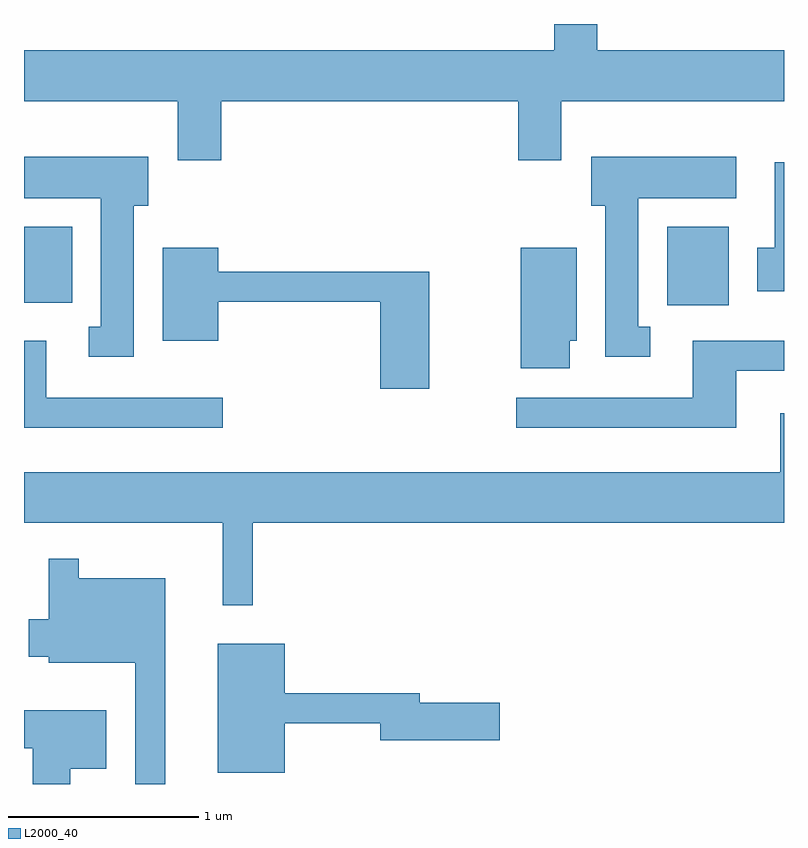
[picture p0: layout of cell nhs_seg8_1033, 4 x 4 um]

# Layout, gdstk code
import gdstk
lib = gdstk.Library(unit=1e-6, precision=1e-09)
def R(c, l, rs):  # rectangles x0, y0, x1, y1
    for r in rs: c.add(gdstk.rectangle(r[:2], r[2:], *l))
def P(c, l, *ps):  # polygons
    for p in ps: c.add(gdstk.Polygon(p, *l))
L2000_40 = (2000, 40)

nhs_seg8_1033 = lib.new_cell('nhs_seg8_1033')
R(nhs_seg8_1033, L2000_40, [(218.996,1870.861,219.319,1871.274), (215.611,1870.876,215.864,1871.274)])
P(nhs_seg8_1033, L2000_40, [(216.649,1871.936),(218.211,1871.936),(218.211,1871.626),(218.439,1871.626),(218.439,1871.936),(219.611,1871.936),(219.611,1872.204),(218.629,1872.204),(218.629,1872.342),(218.401,1872.342),(218.401,1872.204),(215.611,1872.204),(215.611,1871.936),(216.421,1871.936),(216.421,1871.626),(216.649,1871.626)],
  [(218.908,1870.749),(218.844,1870.749),(218.844,1871.426),(219.359,1871.426),(219.359,1871.644),(218.596,1871.644),(218.596,1871.386),(218.671,1871.386),(218.671,1870.591),(218.908,1870.591)],
  [(216.189,1871.386),(216.264,1871.386),(216.264,1871.644),(215.611,1871.644),(215.611,1871.426),(216.016,1871.426),(216.016,1870.749),(215.953,1870.749),(215.953,1870.591),(216.189,1870.591)],
  [(219.611,1871.614),(219.561,1871.614),(219.561,1871.164),(219.471,1871.164),(219.471,1870.936),(219.611,1870.936)],
  [(218.484,1870.676),(218.519,1870.676),(218.519,1871.164),(218.226,1871.164),(218.226,1870.531),(218.484,1870.531)],
  [(217.744,1871.039),(216.634,1871.039),(216.634,1871.164),(216.341,1871.164),(216.341,1870.676),(216.634,1870.676),(216.634,1870.881),(217.486,1870.881),(217.486,1870.421),(217.744,1870.421)],
  [(216.658,1870.374),(215.729,1870.374),(215.729,1870.674),(215.611,1870.674),(215.611,1870.216),(216.658,1870.216)],
  [(219.359,1870.516),(219.611,1870.516),(219.611,1870.674),(219.131,1870.674),(219.131,1870.374),(218.203,1870.374),(218.203,1870.216),(219.359,1870.216)],
  [(216.814,1869.716),(219.611,1869.716),(219.611,1870.294),(219.591,1870.294),(219.591,1869.984),(215.611,1869.984),(215.611,1869.716),(216.656,1869.716),(216.656,1869.283),(216.814,1869.283)],
  [(216.354,1869.424),(215.899,1869.424),(215.899,1869.528),(215.741,1869.528),(215.741,1869.209),(215.636,1869.209),(215.636,1869.011),(215.741,1869.011),(215.741,1868.981),(216.196,1868.981),(216.196,1868.342),(216.354,1868.342)],
  [(216.984,1868.661),(217.486,1868.661),(217.486,1868.571),(218.114,1868.571),(218.114,1868.769),(217.694,1868.769),(217.694,1868.819),(216.984,1868.819),(216.984,1869.079),(216.631,1869.079),(216.631,1868.401),(216.984,1868.401)],
  [(215.854,1868.421),(216.044,1868.421),(216.044,1868.729),(215.611,1868.729),(215.611,1868.531),(215.656,1868.531),(215.656,1868.342),(215.854,1868.342)])

lib.write_gds('nhs_seg8_1033.gds')
